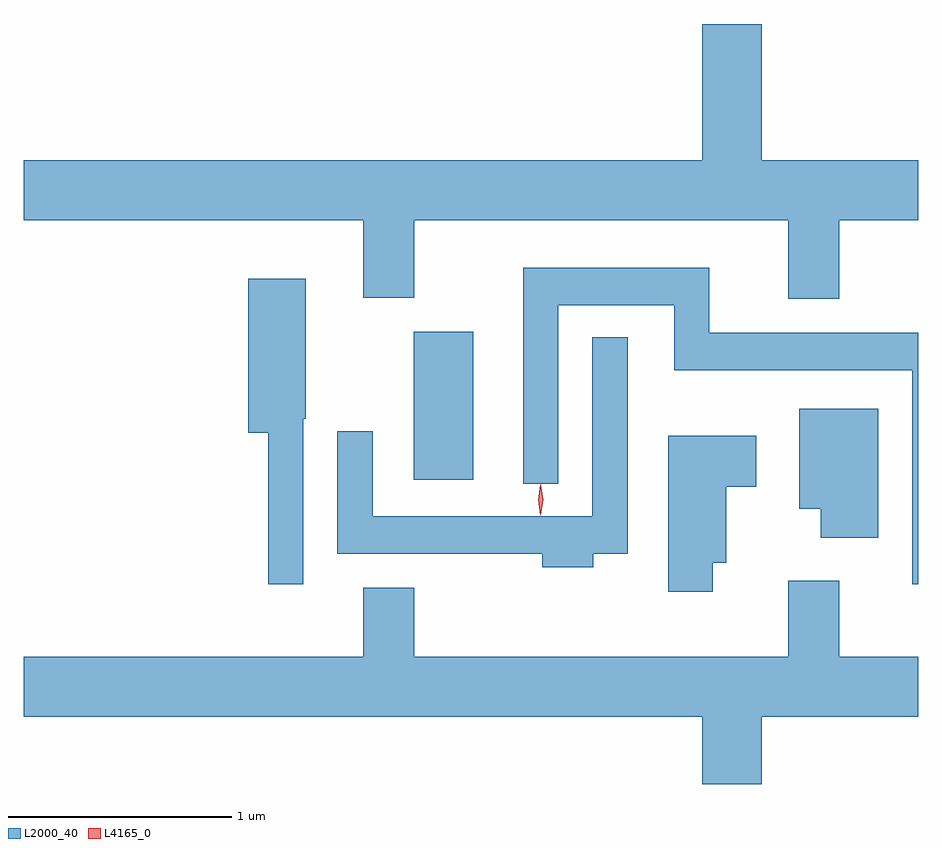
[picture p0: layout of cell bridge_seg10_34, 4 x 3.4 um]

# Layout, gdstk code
import gdstk
lib = gdstk.Library(unit=1e-6, precision=1e-09)
def R(c, l, rs):  # rectangles x0, y0, x1, y1
    for r in rs: c.add(gdstk.rectangle(r[:2], r[2:], *l))
def P(c, l, *ps):  # polygons
    for p in ps: c.add(gdstk.Polygon(p, *l))
L2000_40 = (2000, 40)
L4165_0 = (4165, 0)

bridge_seg10_34 = lib.new_cell('bridge_seg10_34')
R(bridge_seg10_34, L2000_40, [(1592.406,2188.236,1592.674,2188.899)])
P(bridge_seg10_34, L2000_40, [(1594.309,2189.396),(1594.663,2189.396),(1594.663,2189.664),(1593.964,2189.664),(1593.964,2190.274),(1593.696,2190.274),(1593.696,2189.664),(1590.663,2189.664),(1590.663,2189.396),(1592.181,2189.396),(1592.181,2189.051),(1592.409,2189.051),(1592.409,2189.396),(1594.081,2189.396),(1594.081,2189.046),(1594.309,2189.046)],
  [(1594.663,2188.894),(1593.729,2188.894),(1593.729,2189.184),(1592.896,2189.184),(1592.896,2188.218),(1593.054,2188.218),(1593.054,2189.016),(1593.571,2189.016),(1593.571,2188.726),(1594.636,2188.726),(1594.636,2187.768),(1594.663,2187.768)],
  [(1591.914,2188.51),(1591.924,2188.51),(1591.924,2189.134),(1591.666,2189.134),(1591.666,2188.446),(1591.756,2188.446),(1591.756,2187.768),(1591.914,2187.768)],
  [(1593.209,2187.906),(1593.364,2187.906),(1593.364,2188.873),(1593.206,2188.873),(1593.206,2188.074),(1592.224,2188.074),(1592.224,2188.453),(1592.066,2188.453),(1592.066,2187.906),(1592.981,2187.906),(1592.981,2187.846),(1593.209,2187.846)],
  [(1594.484,2188.554),(1594.131,2188.554),(1594.131,2188.106),(1594.226,2188.106),(1594.226,2187.976),(1594.484,2187.976)],
  [(1593.744,2187.866),(1593.804,2187.866),(1593.804,2188.206),(1593.939,2188.206),(1593.939,2188.434),(1593.546,2188.434),(1593.546,2187.736),(1593.744,2187.736)],
  [(1593.964,2187.176),(1594.663,2187.176),(1594.663,2187.444),(1594.309,2187.444),(1594.309,2187.784),(1594.081,2187.784),(1594.081,2187.444),(1592.409,2187.444),(1592.409,2187.754),(1592.181,2187.754),(1592.181,2187.444),(1590.663,2187.444),(1590.663,2187.176),(1593.696,2187.176),(1593.696,2186.876),(1593.964,2186.876)])
P(bridge_seg10_34, L4165_0, [(1592.974,2188.077),(1592.965,2188.146),(1592.974,2188.216),(1592.975,2188.216),(1592.975,2188.216),(1592.985,2188.146),(1592.975,2188.077),(1592.975,2188.077)],
  [(1592.974,2188.079),(1592.973,2188.08),(1592.964,2188.146),(1592.973,2188.212),(1592.974,2188.213),(1592.974,2188.212),(1592.984,2188.146),(1592.974,2188.08)])

lib.write_gds('bridge_seg10_34.gds')
